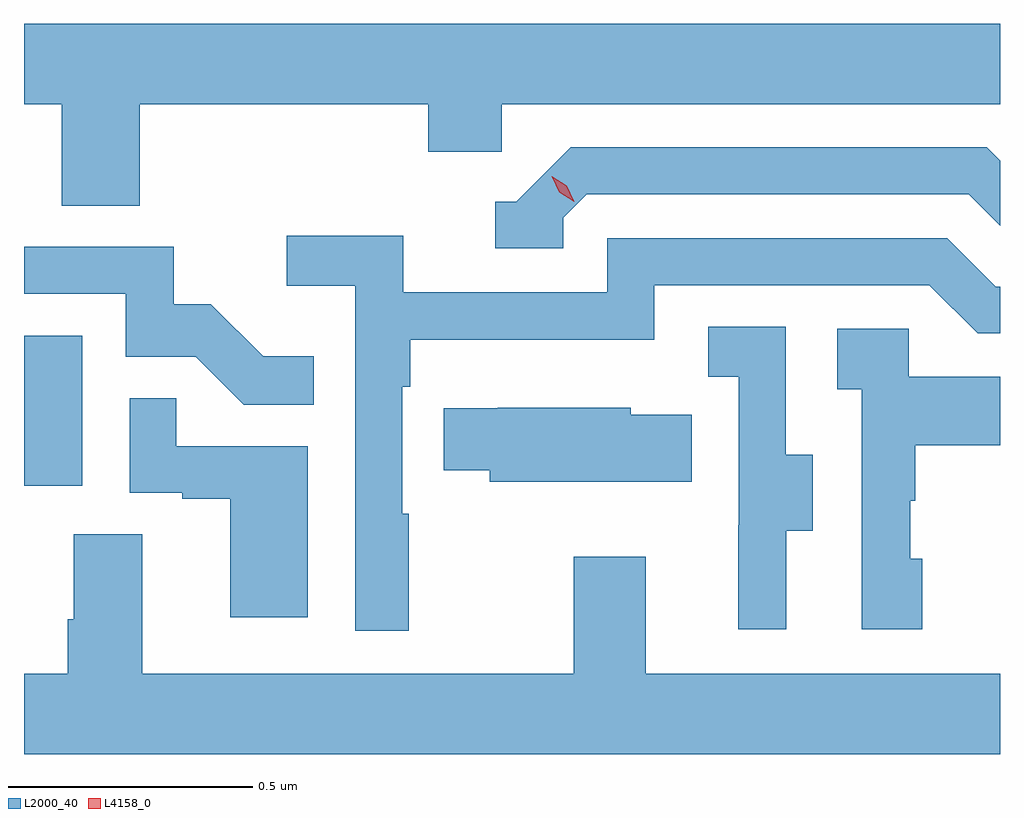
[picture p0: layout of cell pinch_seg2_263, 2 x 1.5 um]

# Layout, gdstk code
import gdstk
lib = gdstk.Library(unit=1e-6, precision=1e-09)
def R(c, l, rs):  # rectangles x0, y0, x1, y1
    for r in rs: c.add(gdstk.rectangle(r[:2], r[2:], *l))
def P(c, l, *ps):  # polygons
    for p in ps: c.add(gdstk.Polygon(p, *l))
L2000_40 = (2000, 40)
L4158_0 = (4158, 0)

pinch_seg2_263 = lib.new_cell('pinch_seg2_263')
R(pinch_seg2_263, L2000_40, [(887.531,649.518,887.65,649.825)])
P(pinch_seg2_263, L2000_40, [(887.768,650.3),(888.359,650.3),(888.359,650.202),(888.51,650.202),(888.51,650.3),(889.531,650.3),(889.531,650.464),(887.531,650.464),(887.531,650.3),(887.608,650.3),(887.608,650.092),(887.768,650.092)],
  [(888.636,650.067),(888.684,650.115),(889.467,650.115),(889.531,650.051),(889.531,650.184),(889.504,650.211),(888.651,650.211),(888.54,650.1),(888.497,650.1),(888.497,650.004),(888.636,650.004)],
  [(888.319,649.46),(888.306,649.46),(888.306,649.721),(888.323,649.721),(888.323,649.817),(888.822,649.817),(888.822,649.929),(889.386,649.929),(889.485,649.83),(889.531,649.83),(889.531,649.926),(889.522,649.926),(889.423,650.025),(888.726,650.025),(888.726,649.914),(888.308,649.914),(888.308,650.03),(888.069,650.03),(888.069,649.928),(888.21,649.928),(888.21,649.221),(888.319,649.221)],
  [(888.125,649.783),(888.021,649.783),(887.914,649.89),(887.838,649.89),(887.838,650.007),(887.531,650.007),(887.531,649.911),(887.739,649.911),(887.739,649.782),(887.883,649.782),(887.981,649.684),(888.125,649.684)],
  [(889.093,649.426),(889.147,649.426),(889.147,649.581),(889.092,649.581),(889.092,649.844),(888.933,649.844),(888.933,649.741),(888.996,649.741),(888.996,649.437),(888.995,649.437),(888.995,649.224),(889.093,649.224)],
  [(889.372,649.368),(889.347,649.368),(889.347,649.487),(889.357,649.487),(889.357,649.601),(889.531,649.601),(889.531,649.741),(889.344,649.741),(889.344,649.839),(889.197,649.839),(889.197,649.715),(889.248,649.715),(889.248,649.224),(889.372,649.224)],
  [(888.112,649.599),(887.843,649.599),(887.843,649.697),(887.748,649.697),(887.748,649.503),(887.855,649.503),(887.855,649.491),(887.954,649.491),(887.954,649.248),(888.112,649.248)],
  [(888.899,649.663),(888.774,649.663),(888.774,649.678),(888.502,649.678),(888.502,649.677),(888.391,649.677),(888.391,649.549),(888.485,649.549),(888.485,649.526),(888.899,649.526)],
  [(889.531,649.132),(888.805,649.132),(888.805,649.372),(888.658,649.372),(888.658,649.132),(887.773,649.132),(887.773,649.418),(887.633,649.418),(887.633,649.244),(887.621,649.244),(887.621,649.132),(887.531,649.132),(887.531,648.968),(889.531,648.968)])
P(pinch_seg2_263, L4158_0, [(888.659,650.1),(888.628,650.119),(888.612,650.152),(888.612,650.152),(888.612,650.152),(888.643,650.133),(888.659,650.1),(888.659,650.1)])

lib.write_gds('pinch_seg2_263.gds')
